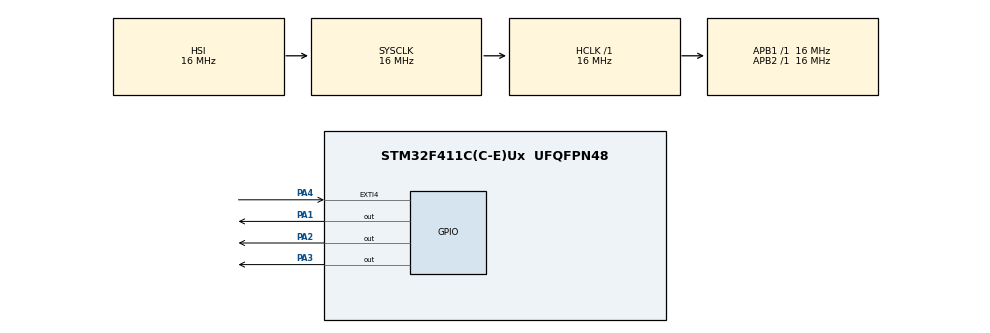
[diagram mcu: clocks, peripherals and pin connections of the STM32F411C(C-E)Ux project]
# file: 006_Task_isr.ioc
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Mcu.Family=STM32F4
Mcu.Name=STM32F411C(C-E)Ux
Mcu.Package=UFQFPN48
NVIC.EXTI4_IRQn=true\:0\:0\:false\:false\:true\:true\:true\:true
NVIC.PriorityGroup=NVIC_PRIORITYGROUP_4
NVIC.TIM1_UP_TIM10_IRQn=true\:15\:0\:false\:false\:true\:false\:true\:true
NVIC.TimeBase=TIM1_UP_TIM10_IRQn
NVIC.TimeBaseIP=TIM10
PA1.Signal=GPIO_Output
PA2.Signal=GPIO_Output
PA3.Signal=GPIO_Output
PA4.GPIO_ModeDefaultEXTI=GPIO_MODE_IT_FALLING
PA4.Signal=GPXTI4
ProjectManager.HeapSize=0x200
ProjectManager.StackSize=0x400
ProjectManager.TargetToolchain=STM32CubeIDE
RCC.AHBFreq_Value=16000000
RCC.APB1Freq_Value=16000000
RCC.APB2Freq_Value=16000000
RCC.CortexFreq_Value=16000000
RCC.HSE_VALUE=25000000
RCC.HSI_VALUE=16000000
RCC.LSE_VALUE=32768
RCC.SYSCLKFreq_VALUE=16000000
RCC.VCOOutputFreq_Value=192000000
VP_SYS_VS_tim10.Mode=TIM10
board=custom

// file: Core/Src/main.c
/* USER CODE BEGIN Header */
/**
  ******************************************************************************
  * @file           : main.c
  * @brief          : Main program body
  ******************************************************************************
  * @attention
  *
  * Copyright (c) 2026 STMicroelectronics.
  * All rights reserved.
  *
  * This software is licensed under terms that can be found in the LICENSE file
  * in the root directory of this software component.
  * If no LICENSE file comes with this software, it is provided AS-IS.
  *
  ******************************************************************************
  */
/* USER CODE END Header */
#include "main.h"

/* USER CODE BEGIN Includes */
#include"FreeRTOS.h"
#include"task.h"
/* USER CODE END Includes */

/* USER CODE BEGIN PV */

#define DWT_CTRL    (*(volatile uint32_t*)0xE0001000)
TaskHandle_t ledg_task_handle;
TaskHandle_t ledo_task_handle;
TaskHandle_t ledr_task_handle;
TaskHandle_t btn_task_handle;

TaskHandle_t volatile next_task_handle = NULL;
/* USER CODE END PV */

void SystemClock_Config(void);
static void MX_GPIO_Init(void);
/* USER CODE BEGIN PFP */
static void led_green_handler(void* parameters);
static void led_orange_handler(void* parameters);
static void led_red_handler(void* parameters);
void button_interrupt_handler(void);

/* USER CODE END PFP */

int main(void)
{

  /* USER CODE BEGIN 1 */
BaseType_t status;
  /* USER CODE END 1 */

  /* MCU Configuration--------------------------------------------------------*/

  /* Reset of all peripherals, Initializes the Flash interface and the Systick. */
  HAL_Init();

  /* Configure the system clock */
  SystemClock_Config();

  /* Initialize all configured peripherals */
  MX_GPIO_Init();
  /* USER CODE BEGIN 2 */
  //CYCLCNT enable
    DWT_CTRL |= ( 1 << 0);

    SEGGER_SYSVIEW_Conf();
    SEGGER_SYSVIEW_Start();

    status = xTaskCreate(led_green_handler, "LED_green_task", 200, NULL, 3, &ledg_task_handle);

    configASSERT(status == pdPASS);

    next_task_handle = ledg_task_handle;

    status = xTaskCreate(led_orange_handler, "LED_orange_task", 200, NULL, 2, &ledo_task_handle);

     configASSERT(status == pdPASS);

    status = xTaskCreate(led_red_handler, "LED_red_task", 200,NULL, 1, &ledr_task_handle);

    configASSERT(status == pdPASS);

    //start the freeRTOS scheduler
    vTaskStartScheduler();
  /* USER CODE END 2 */

  /* Infinite loop */
  while (1)
  {

  }
}

void SystemClock_Config(void)
{
  RCC_OscInitTypeDef RCC_OscInitStruct = {0};
  RCC_ClkInitTypeDef RCC_ClkInitStruct = {0};

  /** Configure the main internal regulator output voltage
  */
  __HAL_RCC_PWR_CLK_ENABLE();
  __HAL_PWR_VOLTAGESCALING_CONFIG(PWR_REGULATOR_VOLTAGE_SCALE1);

  /** Initializes the RCC Oscillators according to the specified parameters
  * in the RCC_OscInitTypeDef structure.
  */
  RCC_OscInitStruct.OscillatorType = RCC_OSCILLATORTYPE_HSI;
  RCC_OscInitStruct.HSIState = RCC_HSI_ON;
  RCC_OscInitStruct.HSICalibrationValue = RCC_HSICALIBRATION_DEFAULT;
  RCC_OscInitStruct.PLL.PLLState = RCC_PLL_NONE;
  if (HAL_RCC_OscConfig(&RCC_OscInitStruct) != HAL_OK)
  {
    Error_Handler();
  }

  /** Initializes the CPU, AHB and APB buses clocks
  */
  RCC_ClkInitStruct.ClockType = RCC_CLOCKTYPE_HCLK|RCC_CLOCKTYPE_SYSCLK
                              |RCC_CLOCKTYPE_PCLK1|RCC_CLOCKTYPE_PCLK2;
  RCC_ClkInitStruct.SYSCLKSource = RCC_SYSCLKSOURCE_HSI;
  RCC_ClkInitStruct.AHBCLKDivider = RCC_SYSCLK_DIV1;
  RCC_ClkInitStruct.APB1CLKDivider = RCC_HCLK_DIV1;
  RCC_ClkInitStruct.APB2CLKDivider = RCC_HCLK_DIV1;

  if (HAL_RCC_ClockConfig(&RCC_ClkInitStruct, FLASH_LATENCY_0) != HAL_OK)
  {
    Error_Handler();
  }
}

static void MX_GPIO_Init(void)
{
  GPIO_InitTypeDef GPIO_InitStruct = {0};

  /* GPIO Ports Clock Enable */
  __HAL_RCC_GPIOA_CLK_ENABLE();

  /*Configure GPIO pin Output Level */
  HAL_GPIO_WritePin(GPIOA, GPIO_PIN_1|GPIO_PIN_2|GPIO_PIN_3, GPIO_PIN_RESET);

  /*Configure GPIO pins : PA1 PA2 PA3 */
  GPIO_InitStruct.Pin = GPIO_PIN_1|GPIO_PIN_2|GPIO_PIN_3;
  GPIO_InitStruct.Mode = GPIO_MODE_OUTPUT_PP;
  GPIO_InitStruct.Pull = GPIO_NOPULL;
  GPIO_InitStruct.Speed = GPIO_SPEED_FREQ_LOW;
  HAL_GPIO_Init(GPIOA, &GPIO_InitStruct);

  /*Configure GPIO pin : PA4 */
  GPIO_InitStruct.Pin = GPIO_PIN_4;
  GPIO_InitStruct.Mode = GPIO_MODE_IT_RISING_FALLING;
  GPIO_InitStruct.Pull = GPIO_PULLUP;
  HAL_GPIO_Init(GPIOA, &GPIO_InitStruct);

  /* EXTI interrupt init*/
  HAL_NVIC_SetPriority(EXTI4_IRQn, configLIBRARY_MAX_SYSCALL_INTERRUPT_PRIORITY, 0);
  HAL_NVIC_EnableIRQ(EXTI4_IRQn);

}

/* USER CODE BEGIN 4 */

void button_interrupt_handler(void)
{
	BaseType_t pxHigherPriorityTaskWoken = pdFALSE;
	TaskHandle_t task_to_notify;

	traceISR_ENTER();

	task_to_notify = next_task_handle;
	if (task_to_notify != NULL)
	{
		xTaskNotifyFromISR(task_to_notify, 0U, eNoAction, &pxHigherPriorityTaskWoken);
		portYIELD_FROM_ISR(pxHigherPriorityTaskWoken);
	}

	traceISR_EXIT();
}

static void led_green_handler(void* parameters)
{
	BaseType_t status;
	while(1)
	{
		SEGGER_SYSVIEW_PrintfTarget("Toggling green LED");
		HAL_GPIO_TogglePin(GPIOA, GPIO_GREEN_PIN);
		status = xTaskNotifyWait(0,0,NULL,pdMS_TO_TICKS(1000));
		if(status == pdTRUE){
			portENTER_CRITICAL();
			next_task_handle = ledo_task_handle;
			HAL_GPIO_WritePin(GPIOA, GPIO_GREEN_PIN, GPIO_PIN_SET);
			portEXIT_CRITICAL();
			SEGGER_SYSVIEW_PrintfTarget("Delete green LED task");
			vTaskDelete(NULL);
		}
	}
}

static void led_orange_handler(void* parameters)
{
	BaseType_t status;

	while(1)
	{
		SEGGER_SYSVIEW_PrintfTarget("Toggling orange LED");
		HAL_GPIO_TogglePin(GPIOA, GPIO_BLUE_PIN);
		status = xTaskNotifyWait(0,0,NULL,pdMS_TO_TICKS(800));
		if(status == pdTRUE){
			portENTER_CRITICAL();
			next_task_handle = ledr_task_handle;
			HAL_GPIO_WritePin(GPIOA, GPIO_BLUE_PIN, GPIO_PIN_SET);
			portEXIT_CRITICAL();
			SEGGER_SYSVIEW_PrintfTarget("Delete orange LED task");
			vTaskDelete(NULL);
		}
	}
}

static void led_red_handler(void* parameters)
{
	BaseType_t status;

	while(1)
	{
		SEGGER_SYSVIEW_PrintfTarget("Toggling red LED");
		HAL_GPIO_TogglePin(GPIOA, GPIO_RED_PIN);
		status = xTaskNotifyWait(0,0,NULL,pdMS_TO_TICKS(400));
		if(status == pdTRUE){
			portENTER_CRITICAL();
			next_task_handle = NULL;
			HAL_GPIO_WritePin(GPIOA, GPIO_RED_PIN, GPIO_PIN_SET);
			portEXIT_CRITICAL();
			SEGGER_SYSVIEW_PrintfTarget("Delete red LED task");
			vTaskDelete(NULL);
		}
	}
}
/* USER CODE END 4 */

void HAL_TIM_PeriodElapsedCallback(TIM_HandleTypeDef *htim)
{
  if (htim->Instance == TIM10)
  {
    HAL_IncTick();
  }
}

void Error_Handler(void)
{
  __disable_irq();
  while (1)
  {
  }
}
